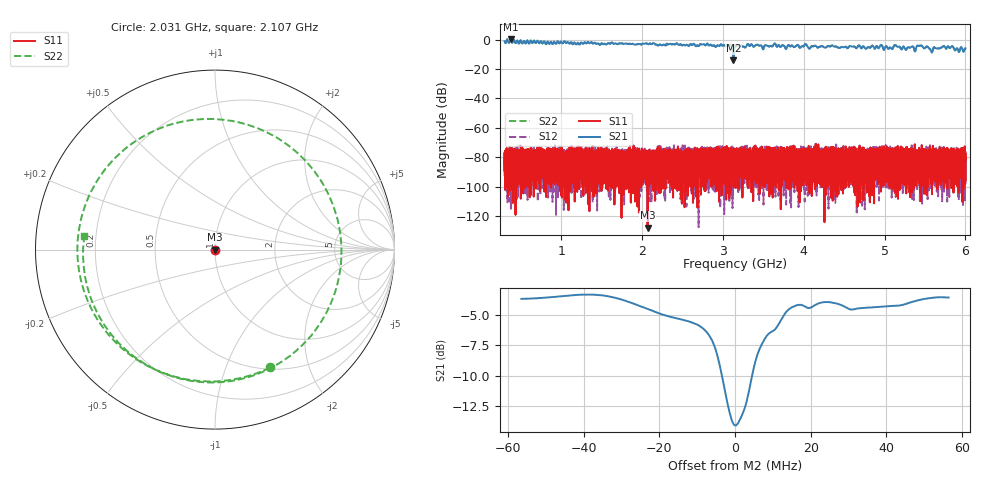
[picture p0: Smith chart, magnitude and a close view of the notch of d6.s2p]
!Agilent Technologies,N5230C,SG49000117,A.08.50.07
!Agilent N5230C: A.08.50.07
!Date: Sunday, March 17, 2024 02:27:09
!Correction: S11(Off)
!S21(Off)
!S12(Off)
!S22(Off)
!S2P File: Measurements: S11, S21, S12, S22:
# Hz S  RI  R 50
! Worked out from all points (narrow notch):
!   20001 points, 300 MHz to 6 GHz, reference 50 ohm
!   highest |S21| = 0.44 dB at 373.5 MHz (marker M1); lowest = -14.1 dB at 3.13 GHz (marker M2)
!   notch at M2: 10.3 dB deep, 9.44 MHz wide at half that depth
!   lowest |S11| = -128.0 dB at 2.069 GHz (marker M3), VSWR 1.00, Z = 50 + j2.16e-05 ohm
!   |S11| at or under -10 dB: start of sweep to end of sweep
!   |S22| runs from -14.1 to 0.5 dB; largest |S21 - S12| = 1.1
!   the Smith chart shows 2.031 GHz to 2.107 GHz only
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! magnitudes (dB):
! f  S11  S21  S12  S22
! 300 MHz  -89.3  -1.0  -84.8  -1.0
! 373.5 MHz  -77.4  0.4  -75.1  0.5
! 1.25 GHz  -76.6  -1.8  -79.0  -1.8
! 2.069 GHz  -128.0  -2.9  -84.5  -3.0
! 2.2 GHz  -79.1  -3.9  -81.7  -3.9
! 3.076 GHz  -78.5  -3.6  -83.5  -3.6
! 3.13 GHz  -85.7  -14.1  -78.0  -14.1
! 3.15 GHz  -79.2  -4.4  -77.8  -4.4
! 3.172 GHz  -85.8  -4.2  -88.4  -4.2
! 3.263 GHz  -84.9  -4.8  -84.6  -4.7
! 3.33 GHz  -91.2  -4.3  -77.4  -4.2
! 3.486 GHz  -79.0  -5.0  -86.8  -4.9
! 3.635 GHz  -99.1  -2.6  -92.4  -2.5
! 3.774 GHz  -83.7  -5.9  -78.6  -5.8
! 4.1 GHz  -82.1  -4.4  -84.8  -4.3
! 5.05 GHz  -81.9  -6.1  -89.0  -6.1
! 5.14 GHz  -86.9  -3.8  -80.8  -3.7
! 5.374 GHz  -87.8  -7.8  -83.2  -7.8
! 5.433 GHz  -80.1  -4.2  -82.1  -4.2
! 5.575 GHz  -78.5  -7.7  -78.8  -7.7
! 5.721 GHz  -89.6  -4.6  -82.8  -4.6
! 6 GHz  -95.9  -5.7  -82.8  -5.8
